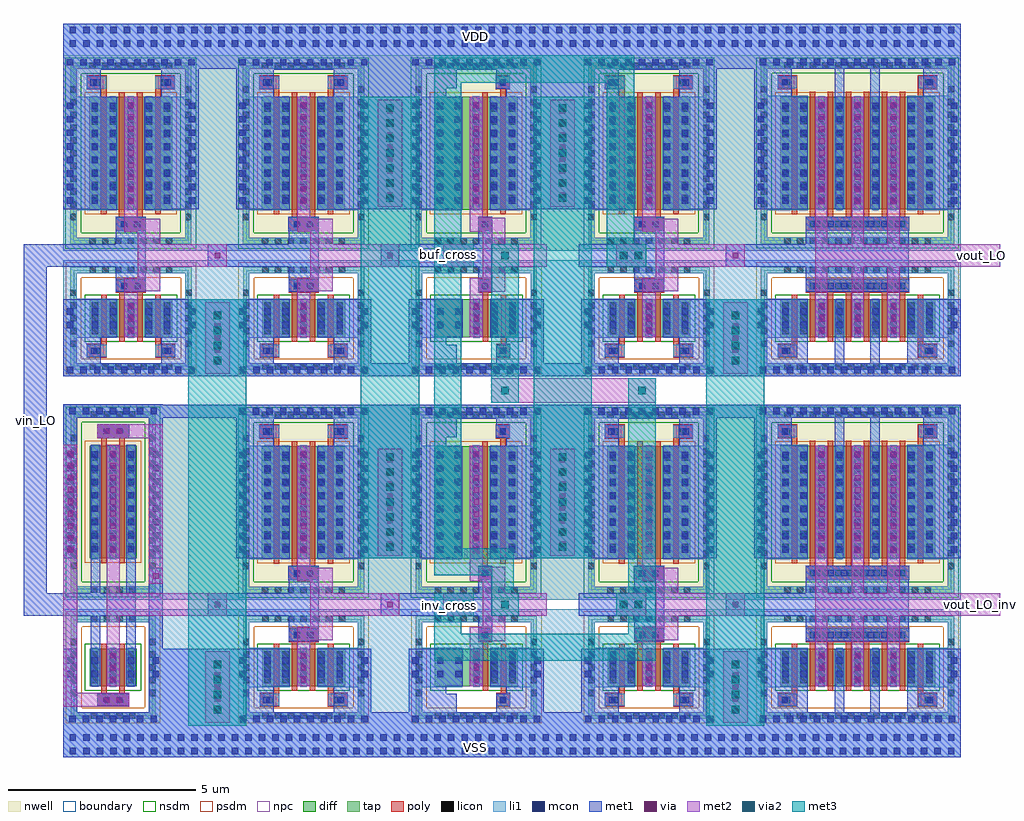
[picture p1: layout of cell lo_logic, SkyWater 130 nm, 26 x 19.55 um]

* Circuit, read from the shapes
.subckt lo_logic VDD VSS buf_cross inv_cross vin_LO vout_LO vout_LO_inv
XM1 VSS VSS VSS VSS sky130_fd_pr__nfet_01v8 w=1 l=0.15 m=16
XM2 transmission_gate_wo_dummy_0/v_b VDD vin_LO VSS sky130_fd_pr__nfet_01v8 w=1 l=0.15 m=2
XM3 inverter_NF2_6/vin vin_LO VSS VSS sky130_fd_pr__nfet_01v8 w=1 l=0.15 m=2
XM4 inv_cross transmission_gate_wo_dummy_0/v_b VSS VSS sky130_fd_pr__nfet_01v8 w=1 l=0.15 m=2
XM5 buf_cross inverter_NF2_6/vin VSS VSS sky130_fd_pr__nfet_01v8 w=1 l=0.15 m=2
XM6 VSS inv_cross buf_cross VSS sky130_fd_pr__nfet_01v8 w=1 l=0.15
XM7 VSS buf_cross inv_cross VSS sky130_fd_pr__nfet_01v8 w=1 l=0.15
XM8 inverter_NF6_1/vin inv_cross VSS VSS sky130_fd_pr__nfet_01v8 w=1 l=0.15 m=2
XM9 inverter_NF6_2/vin buf_cross VSS VSS sky130_fd_pr__nfet_01v8 w=1 l=0.15 m=2
XM10 vout_LO_inv inverter_NF6_1/vin VSS VSS sky130_fd_pr__nfet_01v8 w=1 l=0.15 m=6
XM11 vout_LO inverter_NF6_2/vin VSS VSS sky130_fd_pr__nfet_01v8 w=1 l=0.15 m=6
XM12 VDD VDD VDD VDD sky130_fd_pr__pfet_01v8 w=3 l=0.15 m=16
XM13 transmission_gate_wo_dummy_0/v_b VSS vin_LO VDD sky130_fd_pr__pfet_01v8 w=3 l=0.15 m=2
XM14 inverter_NF2_6/vin vin_LO VDD VDD sky130_fd_pr__pfet_01v8 w=3 l=0.15 m=2
XM15 inv_cross transmission_gate_wo_dummy_0/v_b VDD VDD sky130_fd_pr__pfet_01v8 w=3 l=0.15 m=2
XM16 buf_cross inverter_NF2_6/vin VDD VDD sky130_fd_pr__pfet_01v8 w=3 l=0.15 m=2
XM17 VDD inv_cross buf_cross VDD sky130_fd_pr__pfet_01v8 w=3 l=0.15
XM18 VDD buf_cross inv_cross VDD sky130_fd_pr__pfet_01v8 w=3 l=0.15
XM19 inverter_NF6_1/vin inv_cross VDD VDD sky130_fd_pr__pfet_01v8 w=3 l=0.15 m=2
XM20 inverter_NF6_2/vin buf_cross VDD VDD sky130_fd_pr__pfet_01v8 w=3 l=0.15 m=2
XM21 vout_LO_inv inverter_NF6_1/vin VDD VDD sky130_fd_pr__pfet_01v8 w=3 l=0.15 m=6
XM22 vout_LO inverter_NF6_2/vin VDD VDD sky130_fd_pr__pfet_01v8 w=3 l=0.15 m=6
.ends

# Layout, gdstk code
import gdstk
lib = gdstk.Library(unit=1e-6, precision=1e-09)
def R(c, l, rs):  # rectangles x0, y0, x1, y1
    for r in rs: c.add(gdstk.rectangle(r[:2], r[2:], *l))
def A(c, l, x, y, w, h, nx, ny, dx, dy):  # array of equal rectangles
    R(c, l, [(x+i*dx, y+j*dy, x+i*dx+w, y+j*dy+h) for i in range(nx) for j in range(ny)])
nwell = (64, 20)
diff = (65, 20)
tap = (65, 44)
poly = (66, 20)
licon = (66, 44)
li1 = (67, 20)
mcon = (67, 44)
met1 = (68, 20)
via = (68, 44)
met2 = (69, 20)
via2 = (69, 44)
met3 = (70, 20)
nsdm = (93, 44)
psdm = (94, 20)
npc = (95, 20)
boundary = (235, 4)

sky130_fd_pr__pfet_01v8_ = lib.new_cell('sky130_fd_pr__pfet_01v8_JBTYG7')
R(sky130_fd_pr__pfet_01v8_, nwell, [(-1.315,-2.595,1.315,2.595)])
R(sky130_fd_pr__pfet_01v8_, diff, [(-0.625,-1.5,0.625,1.5)])
R(sky130_fd_pr__pfet_01v8_, tap, [(-1.135,-2.415,1.135,-2.245), (-1.135,-2.245,-0.965,2.245), (0.965,-2.245,1.135,2.245), (-1.135,2.245,1.135,2.415)])
R(sky130_fd_pr__pfet_01v8_, poly, [(-0.315,-1.63,-0.165,1.7), (0.165,-1.63,0.315,1.7), (-0.425,1.7,0.425,2.075)])
A(sky130_fd_pr__pfet_01v8_, licon, -0.595, -2.415, 0.17, 0.17, 4, 2, 0.34, 4.66)
A(sky130_fd_pr__pfet_01v8_, licon, -1.135, -1.785, 0.17, 0.17, 1, 11, 0, 0.34)
A(sky130_fd_pr__pfet_01v8_, licon, 0.965, -1.785, 0.17, 0.17, 1, 11, 0, 0.34)
A(sky130_fd_pr__pfet_01v8_, licon, -0.565, -1.275, 0.17, 0.17, 3, 8, 0.48, 0.34)
R(sky130_fd_pr__pfet_01v8_, licon, [(-0.255,1.8,-0.085,1.97), (0.085,1.8,0.255,1.97)])
A(sky130_fd_pr__pfet_01v8_, li1, -0.565, -1.52, 0.17, 3.04, 3, 1, 0.48, 0)
R(sky130_fd_pr__pfet_01v8_, li1, [(-1.325,-2.6,1.325,-2.245), (-1.325,-2.245,-0.95,2.245), (0.95,-2.245,1.325,2.245), (-0.425,1.7,0.425,2.075), (-1.325,2.245,1.325,2.6)])
A(sky130_fd_pr__pfet_01v8_, mcon, -0.565, -1.345, 0.17, 0.17, 3, 8, 0.48, 0.36)
A(sky130_fd_pr__pfet_01v8_, mcon, -1.165, 2.34, 0.17, 0.17, 7, 1, 0.36, 0)
R(sky130_fd_pr__pfet_01v8_, mcon, [(-0.265,1.8,-0.095,1.97), (0.095,1.8,0.265,1.97)])
A(sky130_fd_pr__pfet_01v8_, met1, -0.595, -1.5, 0.23, 3, 3, 1, 0.48, 0)
R(sky130_fd_pr__pfet_01v8_, met1, [(-0.425,1.7,0.425,2.075), (-1.325,2.25,1.325,2.6)])
R(sky130_fd_pr__pfet_01v8_, nsdm, [(-1.26,-2.54,1.26,-2.12), (-1.26,-2.12,-0.84,2.12), (0.84,-2.12,1.26,2.12), (-1.26,2.12,1.26,2.54)])
R(sky130_fd_pr__pfet_01v8_, psdm, [(-0.75,-1.625,0.75,1.625)])
R(sky130_fd_pr__pfet_01v8_, npc, [(-0.355,1.7,0.355,2.07)])
R(sky130_fd_pr__pfet_01v8_, boundary, [(-1.05,-2.33,1.05,2.33)])
sky130_fd_pr__pfet_01v8_.add(gdstk.Label('B', (0,-2.33), layer=67, texttype=5))
sky130_fd_pr__pfet_01v8_.add(gdstk.Label('D0', (-0.48,0), layer=67, texttype=5))
sky130_fd_pr__pfet_01v8_.add(gdstk.Label('S1', (0,0), layer=67, texttype=5))

sky130_fd_pr__nfet_01v8_ = lib.new_cell('sky130_fd_pr__nfet_01v8_JS22WR')
R(sky130_fd_pr__nfet_01v8_, diff, [(-0.625,-0.5,0.625,0.5)])
R(sky130_fd_pr__nfet_01v8_, tap, [(-1.135,-1.37,1.135,-1.2), (-1.135,-1.2,-0.965,1.2), (0.965,-1.2,1.135,1.2), (-1.135,1.2,1.135,1.37)])
R(sky130_fd_pr__nfet_01v8_, poly, [(-0.425,-1.05,0.425,-0.675), (-0.315,-0.675,-0.165,0.63), (0.165,-0.675,0.315,0.63)])
A(sky130_fd_pr__nfet_01v8_, licon, -0.595, -1.37, 0.17, 0.17, 4, 2, 0.34, 2.57)
A(sky130_fd_pr__nfet_01v8_, licon, -1.135, -0.765, 0.17, 0.17, 1, 5, 0, 0.34)
A(sky130_fd_pr__nfet_01v8_, licon, 0.965, -0.765, 0.17, 0.17, 1, 5, 0, 0.34)
A(sky130_fd_pr__nfet_01v8_, licon, -0.565, -0.425, 0.17, 0.17, 3, 3, 0.48, 0.34)
R(sky130_fd_pr__nfet_01v8_, licon, [(-0.255,-0.95,-0.085,-0.78), (0.085,-0.95,0.255,-0.78)])
A(sky130_fd_pr__nfet_01v8_, li1, -0.565, -0.52, 0.17, 1.04, 3, 1, 0.48, 0)
R(sky130_fd_pr__nfet_01v8_, li1, [(-1.325,-1.55,1.325,-1.2), (-1.325,-1.2,-0.95,1.2), (0.95,-1.2,1.325,1.2), (-0.425,-1.025,0.425,-0.7), (-1.325,1.2,1.325,1.55)])
A(sky130_fd_pr__nfet_01v8_, mcon, -1.165, -1.46, 0.17, 0.17, 7, 1, 0.36, 0)
A(sky130_fd_pr__nfet_01v8_, mcon, -0.565, -0.265, 0.17, 0.17, 3, 2, 0.48, 0.36)
R(sky130_fd_pr__nfet_01v8_, mcon, [(-0.265,-0.95,-0.095,-0.78), (0.095,-0.95,0.265,-0.78)])
A(sky130_fd_pr__nfet_01v8_, met1, -0.595, -0.5, 0.23, 1, 3, 1, 0.48, 0)
R(sky130_fd_pr__nfet_01v8_, met1, [(-1.325,-1.55,1.325,-1.2), (-0.425,-1.025,0.425,-0.7)])
R(sky130_fd_pr__nfet_01v8_, nsdm, [(-0.75,-0.625,0.75,0.625)])
R(sky130_fd_pr__nfet_01v8_, psdm, [(-1.26,-1.495,1.26,-1.075), (-1.26,-1.075,-0.84,1.075), (0.84,-1.075,1.26,1.075), (-1.26,1.075,1.26,1.495)])
R(sky130_fd_pr__nfet_01v8_, npc, [(-0.355,-1.05,0.355,-0.68)])
R(sky130_fd_pr__nfet_01v8_, boundary, [(-1.05,-1.285,1.05,1.285)])
sky130_fd_pr__nfet_01v8_.add(gdstk.Label('B', (0,-1.285), layer=67, texttype=5))
sky130_fd_pr__nfet_01v8_.add(gdstk.Label('D0', (-0.48,0), layer=67, texttype=5))
sky130_fd_pr__nfet_01v8_.add(gdstk.Label('S1', (0,0), layer=67, texttype=5))

transmission_gate_wo_dum = lib.new_cell('transmission_gate_wo_dummy')
R(transmission_gate_wo_dum, li1, [(-0.2,-2.5,0.025,-1.65), (2.075,-2.5,2.3,-1.65), (-0.2,0.9,0.025,3.775), (2.075,0.9,2.3,3.775)])
A(transmission_gate_wo_dum, mcon, -0.175, 0.99, 0.17, 0.17, 1, 8, 0, 0.36)
A(transmission_gate_wo_dum, mcon, 2.1, 0.99, 0.17, 0.17, 1, 8, 0, 0.36)
R(transmission_gate_wo_dum, mcon, [(-0.175,-2.34,-0.005,-2.17), (2.1,-2.34,2.27,-2.17), (-0.175,-1.98,-0.005,-1.81), (2.1,-1.98,2.27,-1.81)])
R(transmission_gate_wo_dum, met1, [(0.775,-3.55,1.325,-3.35), (-0.275,-3.3,0.1,-1.575), (2,-3.3,2.375,-1.575), (0.675,-3.075,1.425,-2.8), (0.45,-2.575,0.7,-0.7), (0.875,-2.575,1.225,-1.575), (1.4,-2.575,1.65,-0.7), (-0.35,-0.7,1.65,-0.1), (0.45,-0.1,0.7,3.85), (1.4,-0.1,1.65,3.85), (-0.275,0.825,0.1,4.925), (0.875,0.825,1.225,3.85), (2,0.825,2.375,4.925), (0.625,4.025,1.475,4.4), (0.7,4.65,1.4,4.85)])
A(transmission_gate_wo_dum, via, 0.975, -2.47, 0.15, 0.15, 1, 3, 0, 0.32)
A(transmission_gate_wo_dum, via, 0.975, 0.98, 0.15, 0.15, 1, 9, 0, 0.32)
R(transmission_gate_wo_dum, via, [(0.815,-3.015,0.965,-2.865), (1.135,-3.015,1.285,-2.865)])
R(transmission_gate_wo_dum, met2, [(0.625,-3.125,1.475,-2.75), (0.875,-2.575,1.225,-0.7), (0.875,-0.7,2.45,-0.1), (0.875,-0.1,1.225,3.85)])
transmission_gate_wo_dum.add(gdstk.Reference(sky130_fd_pr__pfet_01v8_, (1.05,2.33)))
transmission_gate_wo_dum.add(gdstk.Reference(sky130_fd_pr__nfet_01v8_, (1.05,-2.075)))
transmission_gate_wo_dum.add(gdstk.Label('VSS', (1.05,-3.45), layer=68, texttype=5))
transmission_gate_wo_dum.add(gdstk.Label('v_a', (-0.3,-0.4), layer=68, texttype=5))
transmission_gate_wo_dum.add(gdstk.Label('v_b', (2.4,-0.4), layer=69, texttype=5))
transmission_gate_wo_dum.add(gdstk.Label('VDD', (1.025,4.75), layer=68, texttype=5))
transmission_gate_wo_dum.add(gdstk.Label('di_tg_ctrl_n', (1.05,4.225), layer=68, texttype=5))
transmission_gate_wo_dum.add(gdstk.Label('di_tg_ctrl', (1.05,-2.95), layer=69, texttype=5))

c_sky130_fd_pr__pfet_01v8_ = lib.new_cell('sky130_fd_pr__pfet_01v8_JBT5N5')
R(c_sky130_fd_pr__pfet_01v8_, nwell, [(-2.755,-2.595,2.755,2.595)])
R(c_sky130_fd_pr__pfet_01v8_, diff, [(-2.065,-1.5,2.065,1.5)])
R(c_sky130_fd_pr__pfet_01v8_, tap, [(-2.575,-2.415,2.575,-2.245), (-2.575,-2.245,-2.405,2.245), (2.405,-2.245,2.575,2.245), (-2.575,2.245,2.575,2.415)])
A(c_sky130_fd_pr__pfet_01v8_, poly, -1.275, -1.7, 0.15, 3.33, 6, 1, 0.48, 0)
R(c_sky130_fd_pr__pfet_01v8_, poly, [(-1.375,-2.075,1.375,-1.7), (-1.755,-1.63,-1.605,1.7), (1.605,-1.63,1.755,1.7), (-2.125,1.7,-1.605,2.075), (1.605,1.7,2.125,2.075)])
A(c_sky130_fd_pr__pfet_01v8_, licon, -1.955, -2.415, 0.17, 0.17, 12, 2, 0.34, 4.66)
A(c_sky130_fd_pr__pfet_01v8_, licon, -1.275, -1.975, 0.17, 0.17, 8, 1, 0.34, 0)
A(c_sky130_fd_pr__pfet_01v8_, licon, -2.575, -1.785, 0.17, 0.17, 1, 11, 0, 0.34)
A(c_sky130_fd_pr__pfet_01v8_, licon, 2.405, -1.785, 0.17, 0.17, 1, 11, 0, 0.34)
A(c_sky130_fd_pr__pfet_01v8_, licon, -2.005, -1.275, 0.17, 0.17, 9, 8, 0.48, 0.34)
R(c_sky130_fd_pr__pfet_01v8_, licon, [(-1.96,1.8,-1.79,1.97), (1.79,1.8,1.96,1.97)])
A(c_sky130_fd_pr__pfet_01v8_, li1, -2.005, -1.52, 0.17, 3.04, 9, 1, 0.48, 0)
R(c_sky130_fd_pr__pfet_01v8_, li1, [(-2.75,-2.6,2.75,-2.245), (-2.75,-2.245,-2.4,2.245), (2.4,-2.245,2.75,2.245), (-1.375,-2.075,1.375,-1.7), (-2.125,1.725,-1.625,2.05), (1.625,1.725,2.125,2.05), (-2.75,2.245,2.75,2.6)])
A(c_sky130_fd_pr__pfet_01v8_, mcon, -1.165, -1.975, 0.17, 0.17, 7, 1, 0.36, 0)
A(c_sky130_fd_pr__pfet_01v8_, mcon, -2.005, -1.345, 0.17, 0.17, 9, 8, 0.48, 0.36)
A(c_sky130_fd_pr__pfet_01v8_, mcon, -2.605, 2.34, 0.17, 0.17, 15, 1, 0.36, 0)
R(c_sky130_fd_pr__pfet_01v8_, mcon, [(-2.025,1.8,-1.855,1.97), (1.85,1.8,2.02,1.97)])
A(c_sky130_fd_pr__pfet_01v8_, met1, -2.035, -1.5, 0.23, 3, 9, 1, 0.48, 0)
R(c_sky130_fd_pr__pfet_01v8_, met1, [(-1.375,-2.075,1.375,-1.7), (-2.125,1.725,-1.75,2.05), (1.75,1.725,2.125,2.05), (-2.75,2.25,2.75,2.6)])
R(c_sky130_fd_pr__pfet_01v8_, nsdm, [(-2.7,-2.54,2.7,-2.12), (-2.7,-2.12,-2.28,2.12), (2.28,-2.12,2.7,2.12), (-2.7,2.12,2.7,2.54)])
R(c_sky130_fd_pr__pfet_01v8_, psdm, [(-2.19,-1.625,2.19,1.625)])
R(c_sky130_fd_pr__pfet_01v8_, npc, [(-1.375,-2.075,1.375,-1.705), (-2.06,1.7,-1.69,2.07), (1.69,1.7,2.06,2.07)])
R(c_sky130_fd_pr__pfet_01v8_, boundary, [(-2.49,-2.33,2.49,2.33)])
c_sky130_fd_pr__pfet_01v8_.add(gdstk.Label('B', (0,-2.33), layer=67, texttype=5))
c_sky130_fd_pr__pfet_01v8_.add(gdstk.Label('D0', (-1.92,0), layer=67, texttype=5))
c_sky130_fd_pr__pfet_01v8_.add(gdstk.Label('S1', (-1.44,0), layer=67, texttype=5))
c_sky130_fd_pr__pfet_01v8_.add(gdstk.Label('D2', (-0.96,0), layer=67, texttype=5))
c_sky130_fd_pr__pfet_01v8_.add(gdstk.Label('S3', (-0.48,0), layer=67, texttype=5))
c_sky130_fd_pr__pfet_01v8_.add(gdstk.Label('D4', (0,0), layer=67, texttype=5))
c_sky130_fd_pr__pfet_01v8_.add(gdstk.Label('S5', (0.48,0), layer=67, texttype=5))
c_sky130_fd_pr__pfet_01v8_.add(gdstk.Label('D6', (0.96,0), layer=67, texttype=5))
c_sky130_fd_pr__pfet_01v8_.add(gdstk.Label('S7', (1.44,0), layer=67, texttype=5))

c_sky130_fd_pr__nfet_01v8_ = lib.new_cell('sky130_fd_pr__nfet_01v8_4FXFJ2')
R(c_sky130_fd_pr__nfet_01v8_, diff, [(-2.065,-0.5,2.065,0.5)])
R(c_sky130_fd_pr__nfet_01v8_, tap, [(-2.575,-1.37,2.575,-1.2), (-2.575,-1.2,-2.405,1.2), (2.405,-1.2,2.575,1.2), (-2.575,1.2,2.575,1.37)])
A(c_sky130_fd_pr__nfet_01v8_, poly, -1.275, -0.63, 0.15, 1.305, 6, 1, 0.48, 0)
R(c_sky130_fd_pr__nfet_01v8_, poly, [(-2.125,-1.05,-1.605,-0.675), (1.605,-1.05,2.125,-0.675), (-1.755,-0.675,-1.605,0.63), (1.605,-0.675,1.755,0.63), (-1.375,0.675,1.375,1.05)])
A(c_sky130_fd_pr__nfet_01v8_, licon, -1.955, -1.37, 0.17, 0.17, 12, 2, 0.34, 2.57)
A(c_sky130_fd_pr__nfet_01v8_, licon, -2.575, -0.765, 0.17, 0.17, 1, 5, 0, 0.34)
A(c_sky130_fd_pr__nfet_01v8_, licon, 2.405, -0.765, 0.17, 0.17, 1, 5, 0, 0.34)
A(c_sky130_fd_pr__nfet_01v8_, licon, -2.005, -0.425, 0.17, 0.17, 9, 3, 0.48, 0.34)
A(c_sky130_fd_pr__nfet_01v8_, licon, -1.275, 0.775, 0.17, 0.17, 8, 1, 0.34, 0)
R(c_sky130_fd_pr__nfet_01v8_, licon, [(-1.96,-0.95,-1.79,-0.78), (1.79,-0.95,1.96,-0.78)])
A(c_sky130_fd_pr__nfet_01v8_, li1, -2.005, -0.52, 0.17, 1.04, 9, 1, 0.48, 0)
R(c_sky130_fd_pr__nfet_01v8_, li1, [(-2.75,-1.55,2.75,-1.2), (-2.75,-1.2,-2.4,1.2), (2.4,-1.2,2.75,1.2), (-2.125,-1.025,-1.625,-0.7), (1.625,-1.025,2.125,-0.7), (-1.375,0.7,1.375,1.025), (-2.75,1.2,2.75,1.55)])
A(c_sky130_fd_pr__nfet_01v8_, mcon, -2.605, -1.46, 0.17, 0.17, 15, 1, 0.36, 0)
A(c_sky130_fd_pr__nfet_01v8_, mcon, -2.005, -0.265, 0.17, 0.17, 9, 2, 0.48, 0.36)
A(c_sky130_fd_pr__nfet_01v8_, mcon, -1.165, 0.775, 0.17, 0.17, 7, 1, 0.36, 0)
R(c_sky130_fd_pr__nfet_01v8_, mcon, [(-2.025,-0.95,-1.855,-0.78), (1.85,-0.95,2.02,-0.78)])
A(c_sky130_fd_pr__nfet_01v8_, met1, -2.035, -0.5, 0.23, 1, 9, 1, 0.48, 0)
R(c_sky130_fd_pr__nfet_01v8_, met1, [(-2.75,-1.55,2.75,-1.2), (-2.125,-1.025,-1.75,-0.7), (1.75,-1.025,2.125,-0.7), (-1.375,0.7,1.375,1.025)])
R(c_sky130_fd_pr__nfet_01v8_, nsdm, [(-2.19,-0.625,2.19,0.625)])
R(c_sky130_fd_pr__nfet_01v8_, psdm, [(-2.7,-1.495,2.7,-1.075), (-2.7,-1.075,-2.28,1.075), (2.28,-1.075,2.7,1.075), (-2.7,1.075,2.7,1.495)])
R(c_sky130_fd_pr__nfet_01v8_, npc, [(-2.06,-1.05,-1.69,-0.68), (1.69,-1.05,2.06,-0.68), (-1.375,0.675,1.375,1.045)])
R(c_sky130_fd_pr__nfet_01v8_, boundary, [(-2.49,-1.285,2.49,1.285)])
c_sky130_fd_pr__nfet_01v8_.add(gdstk.Label('B', (0,-1.285), layer=67, texttype=5))
c_sky130_fd_pr__nfet_01v8_.add(gdstk.Label('D0', (-1.92,0), layer=67, texttype=5))
c_sky130_fd_pr__nfet_01v8_.add(gdstk.Label('S1', (-1.44,0), layer=67, texttype=5))
c_sky130_fd_pr__nfet_01v8_.add(gdstk.Label('D2', (-0.96,0), layer=67, texttype=5))
c_sky130_fd_pr__nfet_01v8_.add(gdstk.Label('S3', (-0.48,0), layer=67, texttype=5))
c_sky130_fd_pr__nfet_01v8_.add(gdstk.Label('D4', (0,0), layer=67, texttype=5))
c_sky130_fd_pr__nfet_01v8_.add(gdstk.Label('S5', (0.48,0), layer=67, texttype=5))
c_sky130_fd_pr__nfet_01v8_.add(gdstk.Label('D6', (0.96,0), layer=67, texttype=5))
c_sky130_fd_pr__nfet_01v8_.add(gdstk.Label('S7', (1.44,0), layer=67, texttype=5))

inverter_nf6 = lib.new_cell('inverter_NF6')
R(inverter_nf6, li1, [(0.025,-2.6,1.15,-1.55), (3.8,-2.6,4.925,-1.55), (-0.2,-2.5,0,-1.65), (4.95,-2.5,5.15,-1.65), (0.05,0.8,1.15,3.85), (3.8,0.8,4.9,3.85), (-0.2,0.9,0,3.75), (4.95,0.9,5.15,3.75)])
A(inverter_nf6, mcon, -0.185, 0.98, 0.17, 0.17, 1, 8, 0, 0.36)
A(inverter_nf6, mcon, 4.965, 0.98, 0.17, 0.17, 1, 8, 0, 0.36)
R(inverter_nf6, mcon, [(-0.185,-2.34,-0.015,-2.17), (4.965,-2.34,5.135,-2.17), (-0.185,-1.98,-0.015,-1.81), (4.965,-1.98,5.135,-1.81)])
R(inverter_nf6, met1, [(-0.275,-3.625,1.15,-3.5), (3.8,-3.625,5.225,-3.5), (2.1,-3.6,2.85,-3.5), (-0.275,-3.5,5.225,-3.275), (-0.275,-3.275,1.15,-2.6), (1.875,-3.275,2.125,-1.575), (2.825,-3.275,3.075,-1.575), (3.8,-3.275,5.225,-1.575), (-0.275,-2.6,1.155,-2.575), (-0.275,-2.575,1.15,-1.575), (1.35,-2.575,1.675,-1.575), (2.325,-2.575,2.65,-1.575), (3.275,-2.575,3.6,-1.575), (1.1,-1.375,3.85,-0.7), (-0.35,-0.7,3.85,-0.1), (1.1,-0.1,3.85,0.625), (-0.275,0.825,0.95,1.825), (1.35,0.825,1.675,3.825), (1.875,0.825,2.125,4.575), (2.325,0.825,2.65,3.825), (2.825,0.825,3.075,4.575), (3.275,0.825,3.6,3.825), (4,0.825,5.225,1.825), (-0.275,1.825,1,2.825), (3.975,1.825,5.225,2.825), (-0.275,2.825,0.95,3.825), (4,2.825,5.225,3.825), (-0.275,3.825,0.725,4.575), (4.225,3.825,5.225,4.575), (-0.275,4.575,5.225,4.925)])
A(inverter_nf6, via, 1.45, -2.47, 0.15, 0.15, 1, 3, 0, 0.32)
A(inverter_nf6, via, 2.41, -2.47, 0.15, 0.15, 1, 3, 0, 0.32)
A(inverter_nf6, via, 3.36, -2.47, 0.15, 0.15, 1, 3, 0, 0.32)
A(inverter_nf6, via, 1.45, 0.97, 0.15, 0.15, 1, 9, 0, 0.32)
A(inverter_nf6, via, 2.41, 0.97, 0.15, 0.15, 1, 9, 0, 0.32)
A(inverter_nf6, via, 3.36, 0.97, 0.15, 0.15, 1, 9, 0, 0.32)
R(inverter_nf6, met2, [(1.35,-2.575,1.675,-0.7), (2.325,-2.575,2.65,-0.7), (3.275,-2.575,3.6,-0.7), (1.35,-0.7,5.3,-0.1), (1.35,-0.1,1.675,3.825), (2.325,-0.1,2.65,3.825), (3.275,-0.1,3.6,3.825)])
inverter_nf6.add(gdstk.Reference(c_sky130_fd_pr__pfet_01v8_, (2.48,2.325)))
inverter_nf6.add(gdstk.Reference(c_sky130_fd_pr__nfet_01v8_, (2.48,-2.075)))
inverter_nf6.add(gdstk.Label('vin', (-0.3,-0.4), layer=68, texttype=5))
inverter_nf6.add(gdstk.Label('VDD', (2.475,4.75), layer=68, texttype=5))
inverter_nf6.add(gdstk.Label('vout', (5.25,-0.425), layer=69, texttype=5))
inverter_nf6.add(gdstk.Label('VSS', (2.475,-3.45), layer=68, texttype=5))

c_sky130_fd_pr__pfet_01v8__ = lib.new_cell('sky130_fd_pr__pfet_01v8_KBTFAN__0')
R(c_sky130_fd_pr__pfet_01v8__, nwell, [(-1.795,-2.595,1.795,2.595)])
R(c_sky130_fd_pr__pfet_01v8__, diff, [(-1.105,-1.5,1.105,1.5)])
R(c_sky130_fd_pr__pfet_01v8__, tap, [(-1.615,-2.415,1.615,-2.245), (-1.615,-2.245,-1.445,2.245), (1.445,-2.245,1.615,2.245), (-1.615,2.245,1.615,2.415)])
R(c_sky130_fd_pr__pfet_01v8__, poly, [(-0.4,-2.075,0.4,-1.7), (-0.315,-1.7,-0.165,1.63), (0.165,-1.7,0.315,1.63), (-0.795,-1.63,-0.645,1.7), (0.645,-1.63,0.795,1.7), (-1.175,1.7,-0.645,2.075), (0.645,1.7,1.175,2.075)])
A(c_sky130_fd_pr__pfet_01v8__, licon, -1.105, -2.415, 0.17, 0.17, 7, 2, 0.34, 4.66)
A(c_sky130_fd_pr__pfet_01v8__, licon, -1.615, -1.785, 0.17, 0.17, 1, 11, 0, 0.34)
A(c_sky130_fd_pr__pfet_01v8__, licon, 1.445, -1.785, 0.17, 0.17, 1, 11, 0, 0.34)
A(c_sky130_fd_pr__pfet_01v8__, licon, -1.045, -1.275, 0.17, 0.17, 5, 8, 0.48, 0.34)
R(c_sky130_fd_pr__pfet_01v8__, licon, [(-0.255,-1.975,-0.085,-1.805), (0.085,-1.975,0.255,-1.805), (-1,1.8,-0.83,1.97), (0.825,1.8,0.995,1.97)])
A(c_sky130_fd_pr__pfet_01v8__, li1, -1.045, -1.52, 0.17, 3.04, 5, 1, 0.48, 0)
R(c_sky130_fd_pr__pfet_01v8__, li1, [(-1.8,-2.6,1.8,-2.245), (-1.8,-2.245,-1.445,2.245), (1.445,-2.245,1.8,2.245), (-0.4,-2.075,0.4,-1.7), (-1.175,1.725,-0.65,2.05), (0.65,1.725,1.175,2.05), (-1.8,2.245,1.8,2.6)])
A(c_sky130_fd_pr__pfet_01v8__, mcon, -1.045, -1.345, 0.17, 0.17, 5, 8, 0.48, 0.36)
A(c_sky130_fd_pr__pfet_01v8__, mcon, -1.705, 2.34, 0.17, 0.17, 10, 1, 0.36, 0)
R(c_sky130_fd_pr__pfet_01v8__, mcon, [(-0.265,-1.975,-0.095,-1.805), (0.095,-1.975,0.265,-1.805), (-1.075,1.8,-0.905,1.97), (0.9,1.8,1.07,1.97)])
A(c_sky130_fd_pr__pfet_01v8__, met1, -1.075, -1.5, 0.23, 3, 5, 1, 0.48, 0)
R(c_sky130_fd_pr__pfet_01v8__, met1, [(-0.4,-2.075,0.4,-1.7), (-1.175,1.725,-0.8,2.05), (0.8,1.725,1.175,2.05), (-1.8,2.25,1.8,2.6)])
R(c_sky130_fd_pr__pfet_01v8__, nsdm, [(-1.74,-2.54,1.74,-2.12), (-1.74,-2.12,-1.32,2.12), (1.32,-2.12,1.74,2.12), (-1.74,2.12,1.74,2.54)])
R(c_sky130_fd_pr__pfet_01v8__, psdm, [(-1.23,-1.625,1.23,1.625)])
R(c_sky130_fd_pr__pfet_01v8__, npc, [(-0.355,-2.075,0.355,-1.705), (-1.1,1.7,-0.73,2.07), (0.725,1.7,1.095,2.07)])
R(c_sky130_fd_pr__pfet_01v8__, boundary, [(-1.53,-2.33,1.53,2.33)])
c_sky130_fd_pr__pfet_01v8__.add(gdstk.Label('B', (0,-2.33), layer=67, texttype=5))
c_sky130_fd_pr__pfet_01v8__.add(gdstk.Label('D0', (-0.96,0), layer=67, texttype=5))
c_sky130_fd_pr__pfet_01v8__.add(gdstk.Label('S1', (-0.48,0), layer=67, texttype=5))
c_sky130_fd_pr__pfet_01v8__.add(gdstk.Label('D2', (0,0), layer=67, texttype=5))
c_sky130_fd_pr__pfet_01v8__.add(gdstk.Label('S3', (0.48,0), layer=67, texttype=5))

c_sky130_fd_pr__nfet_01v8__ = lib.new_cell('sky130_fd_pr__nfet_01v8_VZLHR2__0')
R(c_sky130_fd_pr__nfet_01v8__, diff, [(-1.105,-0.5,1.105,0.5)])
R(c_sky130_fd_pr__nfet_01v8__, tap, [(-1.615,-1.37,1.615,-1.2), (-1.615,-1.2,-1.445,1.2), (1.445,-1.2,1.615,1.2), (-1.615,1.2,1.615,1.37)])
R(c_sky130_fd_pr__nfet_01v8__, poly, [(-1.175,-1.05,-0.645,-0.675), (0.645,-1.05,1.175,-0.675), (-0.795,-0.675,-0.645,0.63), (0.645,-0.675,0.795,0.63), (-0.315,-0.63,-0.165,0.675), (0.165,-0.63,0.315,0.675), (-0.4,0.675,0.4,1.05)])
A(c_sky130_fd_pr__nfet_01v8__, licon, -1.105, -1.37, 0.17, 0.17, 7, 2, 0.34, 2.57)
A(c_sky130_fd_pr__nfet_01v8__, licon, -1.615, -0.765, 0.17, 0.17, 1, 5, 0, 0.34)
A(c_sky130_fd_pr__nfet_01v8__, licon, 1.445, -0.765, 0.17, 0.17, 1, 5, 0, 0.34)
A(c_sky130_fd_pr__nfet_01v8__, licon, -1.045, -0.425, 0.17, 0.17, 5, 3, 0.48, 0.34)
R(c_sky130_fd_pr__nfet_01v8__, licon, [(-1,-0.95,-0.83,-0.78), (0.825,-0.95,0.995,-0.78), (-0.255,0.775,-0.085,0.945), (0.085,0.775,0.255,0.945)])
A(c_sky130_fd_pr__nfet_01v8__, li1, -1.045, -0.52, 0.17, 1.04, 5, 1, 0.48, 0)
R(c_sky130_fd_pr__nfet_01v8__, li1, [(-1.8,-1.55,1.8,-1.2), (-1.8,-1.2,-1.445,1.2), (1.445,-1.2,1.8,1.2), (-1.175,-1.025,-0.65,-0.7), (0.65,-1.025,1.175,-0.7), (-0.4,0.7,0.4,1.025), (-1.8,1.2,1.8,1.55)])
A(c_sky130_fd_pr__nfet_01v8__, mcon, -1.705, -1.46, 0.17, 0.17, 10, 1, 0.36, 0)
A(c_sky130_fd_pr__nfet_01v8__, mcon, -1.045, -0.265, 0.17, 0.17, 5, 2, 0.48, 0.36)
R(c_sky130_fd_pr__nfet_01v8__, mcon, [(-1.075,-0.95,-0.905,-0.78), (0.9,-0.95,1.07,-0.78), (-0.265,0.775,-0.095,0.945), (0.095,0.775,0.265,0.945)])
A(c_sky130_fd_pr__nfet_01v8__, met1, -1.075, -0.5, 0.23, 1, 5, 1, 0.48, 0)
R(c_sky130_fd_pr__nfet_01v8__, met1, [(-1.8,-1.55,1.8,-1.2), (-1.175,-1.025,-0.8,-0.7), (0.8,-1.025,1.175,-0.7), (-0.4,0.7,0.4,1.025)])
R(c_sky130_fd_pr__nfet_01v8__, nsdm, [(-1.23,-0.625,1.23,0.625)])
R(c_sky130_fd_pr__nfet_01v8__, psdm, [(-1.74,-1.495,1.74,-1.075), (-1.74,-1.075,-1.32,1.075), (1.32,-1.075,1.74,1.075), (-1.74,1.075,1.74,1.495)])
R(c_sky130_fd_pr__nfet_01v8__, npc, [(-1.1,-1.05,-0.73,-0.68), (0.725,-1.05,1.095,-0.68), (-0.355,0.675,0.355,1.045)])
R(c_sky130_fd_pr__nfet_01v8__, boundary, [(-1.53,-1.285,1.53,1.285)])
c_sky130_fd_pr__nfet_01v8__.add(gdstk.Label('B', (0,-1.285), layer=67, texttype=5))
c_sky130_fd_pr__nfet_01v8__.add(gdstk.Label('D0', (-0.96,0), layer=67, texttype=5))
c_sky130_fd_pr__nfet_01v8__.add(gdstk.Label('S1', (-0.48,0), layer=67, texttype=5))
c_sky130_fd_pr__nfet_01v8__.add(gdstk.Label('D2', (0,0), layer=67, texttype=5))
c_sky130_fd_pr__nfet_01v8__.add(gdstk.Label('S3', (0.48,0), layer=67, texttype=5))

inverter_nf2 = lib.new_cell('inverter_NF2')
R(inverter_nf2, li1, [(0.025,-2.6,1.15,-1.55), (1.9,-2.6,3.025,-1.55), (-0.2,-2.5,0,-1.65), (3.05,-2.5,3.25,-1.65), (0.05,0.8,1.15,3.825), (1.9,0.8,3,3.825), (-0.2,0.9,0,3.75), (3.05,0.9,3.25,3.75), (0.05,3.825,0.075,3.85), (2.975,3.825,3,3.85)])
A(inverter_nf2, mcon, -0.185, 0.98, 0.17, 0.17, 1, 8, 0, 0.36)
A(inverter_nf2, mcon, 3.065, 0.98, 0.17, 0.17, 1, 8, 0, 0.36)
R(inverter_nf2, mcon, [(-0.185,-2.34,-0.015,-2.17), (3.065,-2.34,3.235,-2.17), (-0.185,-1.98,-0.015,-1.81), (3.065,-1.98,3.235,-1.81)])
R(inverter_nf2, met1, [(1.2,-3.525,1.9,-3.375), (0.1,-3.325,3.025,-3.3), (-0.275,-3.3,3.325,-3.275), (-0.275,-3.275,0.725,-2.575), (2.325,-3.275,3.325,-2.575), (-0.275,-2.575,1.15,-1.575), (1.35,-2.575,1.7,-1.575), (1.9,-2.575,3.325,-1.575), (1.125,-1.375,1.925,-0.7), (-0.35,-0.7,1.925,-0.1), (1.125,-0.1,1.925,0.625), (-0.275,0.825,0.525,3.8), (0.6,0.825,0.95,1.825), (1.35,0.825,1.7,3.825), (2.1,0.825,3.325,3.825), (0.6,1.825,0.975,2.825), (0.6,2.825,0.95,3.8), (-0.275,3.8,0.95,3.825), (-0.275,3.825,0.725,4.55), (2.325,3.825,3.325,4.55), (-0.275,4.55,3.325,4.925)])
A(inverter_nf2, via, 1.45, -2.47, 0.15, 0.15, 1, 3, 0, 0.32)
A(inverter_nf2, via, 1.45, 0.97, 0.15, 0.15, 1, 9, 0, 0.32)
R(inverter_nf2, met2, [(1.35,-2.575,1.7,-1.35), (1.35,-1.35,2.3,-1), (1.7,-1,2.3,-0.7), (1.7,-0.7,3.4,-0.1), (1.7,-0.1,2.3,0.225), (1.35,0.225,2.3,0.575), (1.35,0.575,1.7,3.825)])
inverter_nf2.add(gdstk.Reference(c_sky130_fd_pr__pfet_01v8__, (1.52,2.32)))
inverter_nf2.add(gdstk.Reference(c_sky130_fd_pr__nfet_01v8__, (1.525,-2.075)))
inverter_nf2.add(gdstk.Label('VDD', (1.55,4.75), layer=68, texttype=5))
inverter_nf2.add(gdstk.Label('vin', (-0.3,-0.4), layer=68, texttype=5))
inverter_nf2.add(gdstk.Label('vout', (3.35,-0.4), layer=69, texttype=5))
inverter_nf2.add(gdstk.Label('VSS', (1.525,-3.45), layer=68, texttype=5))

c_sky130_fd_pr__pfet_01v8___ = lib.new_cell('sky130_fd_pr__pfet_01v8_KBTFAN')
R(c_sky130_fd_pr__pfet_01v8___, nwell, [(-1.795,-2.595,1.795,2.595)])
R(c_sky130_fd_pr__pfet_01v8___, diff, [(-1.105,-1.5,1.105,1.5)])
R(c_sky130_fd_pr__pfet_01v8___, tap, [(-1.615,-2.415,1.615,-2.245), (-1.615,-2.245,-1.445,2.245), (1.445,-2.245,1.615,2.245), (-1.615,2.245,1.615,2.415)])
R(c_sky130_fd_pr__pfet_01v8___, poly, [(0.05,-2.075,0.425,-1.7), (0.165,-1.7,0.315,1.63), (0.645,-1.63,0.795,1.7), (0.525,1.7,0.9,2.075)])
A(c_sky130_fd_pr__pfet_01v8___, licon, -1.105, -2.415, 0.17, 0.17, 7, 2, 0.34, 4.66)
A(c_sky130_fd_pr__pfet_01v8___, licon, -1.615, -1.785, 0.17, 0.17, 1, 11, 0, 0.34)
A(c_sky130_fd_pr__pfet_01v8___, licon, 1.445, -1.785, 0.17, 0.17, 1, 11, 0, 0.34)
A(c_sky130_fd_pr__pfet_01v8___, licon, -0.085, -1.275, 0.17, 0.17, 3, 8, 0.48, 0.34)
R(c_sky130_fd_pr__pfet_01v8___, licon, [(0.15,-1.975,0.32,-1.805), (0.625,1.8,0.795,1.97)])
A(c_sky130_fd_pr__pfet_01v8___, li1, -1.045, -1.52, 0.17, 3.04, 5, 1, 0.48, 0)
R(c_sky130_fd_pr__pfet_01v8___, li1, [(-1.8,-2.6,1.8,-2.245), (-1.8,-2.245,-1.445,2.245), (1.445,-2.245,1.8,2.245), (0.05,-2.075,0.425,-1.7), (0.525,1.725,0.9,2.05), (-1.8,2.245,1.8,2.6)])
A(c_sky130_fd_pr__pfet_01v8___, mcon, -1.045, -1.345, 0.17, 0.17, 5, 8, 0.48, 0.36)
A(c_sky130_fd_pr__pfet_01v8___, mcon, -1.705, 2.34, 0.17, 0.17, 10, 1, 0.36, 0)
R(c_sky130_fd_pr__pfet_01v8___, mcon, [(0.15,-1.975,0.32,-1.805), (0.625,1.8,0.795,1.97)])
A(c_sky130_fd_pr__pfet_01v8___, met1, -1.075, -1.5, 0.23, 3, 5, 1, 0.48, 0)
R(c_sky130_fd_pr__pfet_01v8___, met1, [(0.05,-2.075,0.425,-1.7), (0.525,1.725,0.9,2.05), (-1.8,2.25,1.8,2.6)])
R(c_sky130_fd_pr__pfet_01v8___, nsdm, [(-1.74,-2.54,1.74,-2.12), (-1.74,-2.12,-1.32,2.12), (1.32,-2.12,1.74,2.12), (-1.74,2.12,1.74,2.54)])
R(c_sky130_fd_pr__pfet_01v8___, psdm, [(-1.23,-1.625,1.23,1.625)])
R(c_sky130_fd_pr__pfet_01v8___, npc, [(0.05,-2.075,0.42,-1.705), (0.525,1.7,0.895,2.07)])
R(c_sky130_fd_pr__pfet_01v8___, boundary, [(-1.53,-2.33,1.53,2.33)])
c_sky130_fd_pr__pfet_01v8___.add(gdstk.Label('B', (0,-2.33), layer=67, texttype=5))
c_sky130_fd_pr__pfet_01v8___.add(gdstk.Label('D0', (-0.96,0), layer=68, texttype=5))
c_sky130_fd_pr__pfet_01v8___.add(gdstk.Label('S1', (-0.48,0), layer=68, texttype=5))
c_sky130_fd_pr__pfet_01v8___.add(gdstk.Label('D2', (0,0), layer=67, texttype=5))
c_sky130_fd_pr__pfet_01v8___.add(gdstk.Label('S3', (0.48,0), layer=67, texttype=5))

c_sky130_fd_pr__nfet_01v8___ = lib.new_cell('sky130_fd_pr__nfet_01v8_VZLHR2')
R(c_sky130_fd_pr__nfet_01v8___, diff, [(-1.105,-0.5,1.105,0.5)])
R(c_sky130_fd_pr__nfet_01v8___, tap, [(-1.615,-1.37,1.615,-1.2), (-1.615,-1.2,-1.445,1.2), (1.445,-1.2,1.615,1.2), (-1.615,1.2,1.615,1.37)])
R(c_sky130_fd_pr__nfet_01v8___, poly, [(0.525,-1.05,0.9,-0.675), (0.645,-0.675,0.795,0.63), (0.165,-0.63,0.315,0.675), (0.05,0.675,0.425,1.05)])
A(c_sky130_fd_pr__nfet_01v8___, licon, -1.105, -1.37, 0.17, 0.17, 7, 2, 0.34, 2.57)
A(c_sky130_fd_pr__nfet_01v8___, licon, -1.615, -0.765, 0.17, 0.17, 1, 5, 0, 0.34)
A(c_sky130_fd_pr__nfet_01v8___, licon, 1.445, -0.765, 0.17, 0.17, 1, 5, 0, 0.34)
A(c_sky130_fd_pr__nfet_01v8___, licon, -0.085, -0.425, 0.17, 0.17, 3, 3, 0.48, 0.34)
R(c_sky130_fd_pr__nfet_01v8___, licon, [(0.625,-0.95,0.795,-0.78), (0.15,0.775,0.32,0.945)])
A(c_sky130_fd_pr__nfet_01v8___, li1, -1.045, -0.52, 0.17, 1.04, 5, 1, 0.48, 0)
R(c_sky130_fd_pr__nfet_01v8___, li1, [(-1.8,-1.55,1.8,-1.2), (-1.8,-1.2,-1.445,1.2), (1.445,-1.2,1.8,1.2), (0.525,-1.025,0.9,-0.7), (0.05,0.7,0.425,1.025), (-1.8,1.2,1.8,1.55)])
A(c_sky130_fd_pr__nfet_01v8___, mcon, -1.705, -1.46, 0.17, 0.17, 10, 1, 0.36, 0)
A(c_sky130_fd_pr__nfet_01v8___, mcon, -1.045, -0.265, 0.17, 0.17, 5, 2, 0.48, 0.36)
R(c_sky130_fd_pr__nfet_01v8___, mcon, [(0.625,-0.95,0.795,-0.78), (0.15,0.775,0.32,0.945)])
A(c_sky130_fd_pr__nfet_01v8___, met1, -1.075, -0.5, 0.23, 1, 5, 1, 0.48, 0)
R(c_sky130_fd_pr__nfet_01v8___, met1, [(-1.8,-1.55,1.8,-1.2), (0.525,-1.025,0.9,-0.7), (0.05,0.7,0.425,1.025)])
R(c_sky130_fd_pr__nfet_01v8___, nsdm, [(-1.23,-0.625,1.23,0.625)])
R(c_sky130_fd_pr__nfet_01v8___, psdm, [(-1.74,-1.495,1.74,-1.075), (-1.74,-1.075,-1.32,1.075), (1.32,-1.075,1.74,1.075), (-1.74,1.075,1.74,1.495)])
R(c_sky130_fd_pr__nfet_01v8___, npc, [(0.525,-1.05,0.895,-0.68), (0.05,0.675,0.42,1.045)])
R(c_sky130_fd_pr__nfet_01v8___, boundary, [(-1.53,-1.285,1.53,1.285)])
c_sky130_fd_pr__nfet_01v8___.add(gdstk.Label('B', (0,-1.285), layer=67, texttype=5))
c_sky130_fd_pr__nfet_01v8___.add(gdstk.Label('D0', (-0.96,0), layer=68, texttype=5))
c_sky130_fd_pr__nfet_01v8___.add(gdstk.Label('S1', (-0.48,0), layer=68, texttype=5))
c_sky130_fd_pr__nfet_01v8___.add(gdstk.Label('D2', (0,0), layer=67, texttype=5))
c_sky130_fd_pr__nfet_01v8___.add(gdstk.Label('S3', (0.48,0), layer=67, texttype=5))

inverter_nf1 = lib.new_cell('inverter_NF1')
R(inverter_nf1, li1, [(0.025,-2.6,1.15,-1.55), (1.9,-2.6,3.025,-1.55), (-0.2,-2.5,0,-1.65), (3.05,-2.5,3.25,-1.65), (0.05,0.8,1.15,3.825), (1.9,0.8,3,3.825), (-0.2,0.9,0,3.75), (3.05,0.9,3.25,3.75), (0.05,3.825,0.075,3.85), (2.975,3.825,3,3.85)])
A(inverter_nf1, mcon, -0.185, 0.98, 0.17, 0.17, 1, 8, 0, 0.36)
A(inverter_nf1, mcon, 3.065, 0.98, 0.17, 0.17, 1, 8, 0, 0.36)
R(inverter_nf1, mcon, [(-0.185,-2.34,-0.015,-2.17), (3.065,-2.34,3.235,-2.17), (-0.185,-1.98,-0.015,-1.81), (3.065,-1.98,3.235,-1.81)])
R(inverter_nf1, met1, [(1.2,-3.525,1.9,-3.375), (0.1,-3.325,3.025,-3.3), (-0.275,-3.3,3.325,-3.275), (-0.275,-3.275,1,-2.775), (2.05,-3.275,3.325,-2.8), (2.325,-2.8,3.325,-2.575), (-0.275,-2.775,0.725,-2.575), (-0.275,-2.575,1.15,-1.575), (1.35,-2.575,1.7,-1.575), (1.9,-2.575,3.325,-1.575), (1.575,-1.375,1.95,-0.7), (-0.35,-0.7,1.95,-0.1), (1.575,-0.1,1.95,0.625), (-0.275,0.825,0.525,3.8), (0.6,0.825,0.95,1.825), (1.35,0.825,1.7,3.825), (2.1,0.825,3.325,3.825), (0.6,1.825,0.975,2.825), (0.6,2.825,0.95,3.8), (-0.275,3.8,0.95,3.825), (-0.275,3.825,0.725,4.05), (2.325,3.825,3.325,4.05), (-0.275,4.05,1,4.55), (2.05,4.05,3.325,4.55), (-0.275,4.55,3.325,4.925)])
A(inverter_nf1, via, 1.45, -2.47, 0.15, 0.15, 1, 3, 0, 0.32)
A(inverter_nf1, via, 1.45, 0.97, 0.15, 0.15, 1, 9, 0, 0.32)
R(inverter_nf1, met2, [(1.35,-2.575,1.7,-1.375), (1.35,-1.375,2.3,-1), (1.7,-1,2.3,-0.7), (1.7,-0.7,3.4,-0.1), (1.7,-0.1,2.3,0.225), (1.35,0.225,2.3,0.6), (1.35,0.6,1.7,3.825)])
inverter_nf1.add(gdstk.Reference(c_sky130_fd_pr__pfet_01v8___, (1.52,2.32)))
inverter_nf1.add(gdstk.Reference(c_sky130_fd_pr__nfet_01v8___, (1.525,-2.075)))
inverter_nf1.add(gdstk.Label('VDD', (1.55,4.75), layer=68, texttype=5))
inverter_nf1.add(gdstk.Label('vin', (-0.3,-0.4), layer=68, texttype=5))
inverter_nf1.add(gdstk.Label('vout', (3.35,-0.4), layer=69, texttype=5))
inverter_nf1.add(gdstk.Label('VSS', (1.525,-3.45), layer=68, texttype=5))

lo_logic = lib.new_cell('lo_logic')
R(lo_logic, nwell, [(0.075,-5.95,23.975,-0.75), (0.075,3.35,23.975,8.55)])
A(lo_logic, li1, 7.925, -8.95, 1.7, 2.75, 3, 1, 4.6, 0)
A(lo_logic, li1, 7.925, -5.95, 1.7, 4.85, 3, 1, 4.6, 0)
A(lo_logic, li1, 3.325, 0.35, 1.7, 2.75, 4, 1, 4.6, 0)
A(lo_logic, li1, 3.325, 3.35, 1.7, 4.85, 4, 1, 4.6, 0)
R(lo_logic, li1, [(0.075,-10.15,23.975,-8.95), (2.35,-8.95,5.025,-6.2), (2.35,-5.95,5.025,-1.1), (0.075,-1.1,23.975,-0.75), (0.075,0,23.975,0.35), (0.075,8.2,23.975,9.4)])
A(lo_logic, mcon, 0.24, -10.065, 0.17, 0.17, 66, 2, 0.36, 0.36)
A(lo_logic, mcon, 0.24, 8.785, 0.17, 0.17, 66, 2, 0.36, 0.36)
R(lo_logic, met1, [(0.075,-10.15,23.975,-8.95), (2.35,-8.95,4.95,-7.25), (17.2,-8.95,18.75,-7.25), (2.35,-7.25,2.725,-5.1), (-0.975,-6.375,0,-5.775), (3.925,-6.375,4.675,-5.775), (8.525,-6.375,9.275,-5.775), (17.725,-6.375,18.475,-5.775), (10.25,-6.325,10.95,-5.825), (14.85,-6.325,15.55,-5.825), (-0.975,-5.775,-0.375,2.925), (8,-4.85,9.55,-1.1), (12.6,-4.85,14.15,-1.1), (0.125,-4.8,0.4,-1.875), (1.025,-1.6,1.775,-1.325), (0.075,-1.1,23.975,-0.75), (0.075,0,23.975,0.35), (3.4,0.35,4.95,2.05), (17.2,0.35,18.75,2.05), (-0.975,2.925,0.025,3.525), (3.925,2.925,4.6,3.525), (8.525,2.925,9.275,3.525), (17.725,2.925,18.475,3.525), (10.25,2.975,10.95,3.475), (14.85,2.975,15.55,3.475), (8,4.45,9.55,8.2), (12.6,4.45,14.15,8.2), (0.075,8.2,23.975,9.4)])
A(lo_logic, via, 4.1, -8.99, 0.15, 0.15, 1, 5, 0, 0.32)
A(lo_logic, via, 17.9, -8.99, 0.15, 0.15, 1, 5, 0, 0.32)
A(lo_logic, via, 0.185, -4.695, 0.15, 0.15, 1, 9, 0, 0.32)
A(lo_logic, via, 8.7, -4.545, 0.15, 0.15, 1, 8, 0, 0.32)
A(lo_logic, via, 13.3, -4.545, 0.15, 0.15, 1, 8, 0, 0.32)
A(lo_logic, via, 4.1, 0.31, 0.15, 0.15, 1, 5, 0, 0.32)
A(lo_logic, via, 17.9, 0.31, 0.15, 0.15, 1, 5, 0, 0.32)
A(lo_logic, via, 8.7, 4.755, 0.15, 0.15, 1, 8, 0, 0.32)
A(lo_logic, via, 13.3, 4.755, 0.15, 0.15, 1, 8, 0, 0.32)
R(lo_logic, via, [(4.1,-6.15,4.25,-6), (8.7,-6.15,8.85,-6), (10.365,-6.15,10.515,-6), (10.685,-6.15,10.835,-6), (14.965,-6.15,15.115,-6), (15.285,-6.15,15.435,-6), (17.9,-6.15,18.05,-6), (2.46,-5.39,2.61,-5.24), (1.165,-1.54,1.315,-1.39), (1.485,-1.54,1.635,-1.39), (4.1,3.15,4.25,3.3), (8.7,3.15,8.85,3.3), (10.365,3.15,10.515,3.3), (10.685,3.15,10.835,3.3), (14.965,3.15,15.115,3.3), (15.285,3.15,15.435,3.3), (17.9,3.15,18.05,3.3)])
R(lo_logic, met2, [(3.85,-9.225,4.5,-7.325), (17.65,-9.225,18.3,-7.325), (0.075,-8.8,1.825,-8.425), (0.075,-8.425,0.45,-1.825), (2.425,-6.375,4.425,-5.775), (8.35,-6.375,9.025,-5.775), (10.2,-6.375,11,-5.775), (14.8,-6.375,15.6,-5.775), (17.55,-6.375,18.225,-5.775), (23.975,-6.375,25.025,-5.775), (11.525,-6.325,12.15,-5.825), (2.35,-5.525,2.725,-1.65), (8.45,-4.775,9.1,-1.925), (13.05,-4.775,13.7,-1.925), (0.975,-1.65,2.725,-1.275), (11.475,-0.7,15.85,-0.05), (3.85,0.075,4.5,1.975), (17.65,0.075,18.3,1.975), (3.75,2.925,4.425,3.525), (8.275,2.925,9.025,3.525), (10.2,2.925,11,3.525), (14.8,2.925,15.6,3.525), (17.55,2.925,18.225,3.525), (23.975,2.925,25.025,3.525), (11.525,2.975,12.15,3.475), (8.45,4.525,9.1,7.375), (13.05,4.525,13.7,7.375)])
A(lo_logic, via2, 4.075, -8.975, 0.2, 0.2, 1, 4, 0, 0.4)
A(lo_logic, via2, 17.875, -8.975, 0.2, 0.2, 1, 4, 0, 0.4)
A(lo_logic, via2, 8.675, -4.65, 0.2, 0.2, 1, 7, 0, 0.4)
A(lo_logic, via2, 13.275, -4.65, 0.2, 0.2, 1, 7, 0, 0.4)
A(lo_logic, via2, 4.075, 0.325, 0.2, 0.2, 1, 4, 0, 0.4)
A(lo_logic, via2, 17.875, 0.325, 0.2, 0.2, 1, 4, 0, 0.4)
A(lo_logic, via2, 8.675, 4.65, 0.2, 0.2, 1, 7, 0, 0.4)
A(lo_logic, via2, 13.275, 4.65, 0.2, 0.2, 1, 7, 0, 0.4)
R(lo_logic, via2, [(10.3,-6.175,10.5,-5.975), (10.7,-6.175,10.9,-5.975), (11.735,-6.175,11.935,-5.975), (14.9,-6.175,15.1,-5.975), (15.3,-6.175,15.5,-5.975), (11.735,-0.475,11.935,-0.275), (15.385,-0.475,15.585,-0.275), (10.3,3.125,10.5,3.325), (10.7,3.125,10.9,3.325), (11.735,3.125,11.935,3.325), (14.9,3.125,15.1,3.325), (15.3,3.125,15.5,3.325)])
R(lo_logic, met3, [(3.4,-9.3,4.95,2.05), (17.2,-9.3,18.75,2.05), (9.95,-7.575,15.85,-6.85), (9.95,-6.85,10.675,-6.375), (15.125,-6.85,15.85,-6.375), (9.95,-6.375,11,-5.775), (11.475,-6.375,12.2,-5.775), (14.8,-6.375,15.85,-5.775), (11.475,-5.775,12.075,-5.3), (15.125,-5.775,15.85,-0.05), (9.95,-5.3,12.075,-4.575), (8,-4.85,9.55,7.45), (12.6,-4.85,14.15,7.45), (9.95,-4.575,10.675,2.925), (11.475,-0.7,12.2,3.525), (9.95,2.925,11,3.525), (14.55,2.925,15.6,3.525), (9.95,3.525,10.675,7.825), (14.55,3.525,15.275,7.825), (9.95,7.825,15.275,8.55)])
lo_logic.add(gdstk.Reference(transmission_gate_wo_dum, (0.35,-5.675)))
lo_logic.add(gdstk.Reference(inverter_nf6, (18.75,-5.675)))
lo_logic.add(gdstk.Reference(inverter_nf6, (18.75,3.625)))
lo_logic.add(gdstk.Reference(inverter_nf2, (14.15,3.625)))
lo_logic.add(gdstk.Reference(inverter_nf2, (14.15,-5.675)))
lo_logic.add(gdstk.Reference(inverter_nf2, (4.95,-5.675)))
lo_logic.add(gdstk.Reference(inverter_nf2, (4.95,3.625)))
lo_logic.add(gdstk.Reference(inverter_nf2, (0.35,3.625)))
lo_logic.add(gdstk.Reference(inverter_nf1, (9.55,-5.675)))
lo_logic.add(gdstk.Reference(inverter_nf1, (9.55,3.625)))
lo_logic.add(gdstk.Label('inv_cross', (10.35,-6.1), layer=70, texttype=5))
lo_logic.add(gdstk.Label('buf_cross', (10.325,3.25), layer=70, texttype=5))
lo_logic.add(gdstk.Label('vin_LO', (-0.675,-1.175), layer=68, texttype=5))
lo_logic.add(gdstk.Label('vout_LO', (24.525,3.225), layer=69, texttype=5))
lo_logic.add(gdstk.Label('vout_LO_inv', (24.5,-6.075), layer=69, texttype=5))
lo_logic.add(gdstk.Label('VSS', (11.05,-9.875), layer=68, texttype=5))
lo_logic.add(gdstk.Label('VDD', (11.05,9.05), layer=68, texttype=5))

lib.write_gds('lo_logic.gds')
